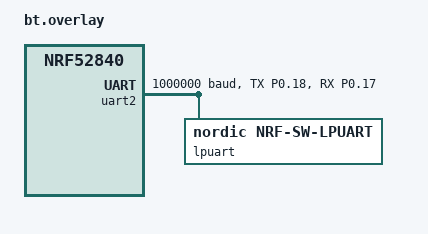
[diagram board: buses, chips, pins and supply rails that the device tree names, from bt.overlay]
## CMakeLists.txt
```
#
# Copyright (c) 2020 Nordic Semiconductor
#
# SPDX-License-Identifier: LicenseRef-Nordic-5-Clause
#

cmake_minimum_required(VERSION 3.20.0)

find_package(Zephyr REQUIRED HINTS $ENV{ZEPHYR_BASE})
project(MOSH)
target_include_directories(app PRIVATE src)

target_sources(app PRIVATE src/main.c)
target_sources(app PRIVATE src/shell.c)

add_subdirectory(src/print)
add_subdirectory(src/utils)
add_subdirectory(src/uart)
add_subdirectory(src/at)
add_subdirectory(src/link)
add_subdirectory_ifdef(CONFIG_MOSH_NRF91_NON_OFFLOADING_DEV src/drivers)
add_subdirectory_ifdef(CONFIG_MOSH_WORKER_THREADS src/th)
add_subdirectory_ifdef(CONFIG_MOSH_SOCK src/sock)
add_subdirectory_ifdef(CONFIG_MOSH_PING src/ping)
add_subdirectory_ifdef(CONFIG_MOSH_GNSS src/gnss)
add_subdirectory_ifdef(CONFIG_MOSH_SMS src/sms)
add_subdirectory_ifdef(CONFIG_MOSH_LOCATION src/location)
add_subdirectory_ifdef(CONFIG_MOSH_PPP src/ppp)
add_subdirectory_ifdef(CONFIG_MOSH_FOTA src/fota)
add_subdirectory_ifdef(CONFIG_MOSH_REST src/rest)
add_subdirectory_ifdef(CONFIG_MOSH_STARTUP_CMDS src/startup_cmd)
add_subdirectory_ifdef(CONFIG_MOSH_GPIO_COUNT src/gpio_count)
add_subdirectory(src/cloud)

if(NOT ENV{PROJECT_NAME})
  zephyr_compile_definitions(
    PROJECT_NAME=${CMAKE_PROJECT_NAME}
  )
endif()
```

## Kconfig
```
#
# Copyright (c) 2020 Nordic Semiconductor ASA
#
# SPDX-License-Identifier: LicenseRef-Nordic-5-Clause
#

menu "Nordic Modem Shell config"

config MOSH_IPERF3
	bool "iPerf3"
	default y
	select NRF_IPERF3

config NRF_IPERF3_PROMPTLESS
	bool
	default y

config MOSH_SOCK
	bool "Socket tool"
	default y
	help
	  Socket tool with TCP, UDP, RAW, IPv4, IPv6 and packet socket support.

config MOSH_PING
	bool "ICMP ping"
	default y
	help
	  Ping is a tool for testing the reachability of a host on an IP network.

config MOSH_CURL
	bool "cURL"
	default y
	select NRF_CURL

config NRF_CURL_PROMPTLESS
	bool
	default y

config MOSH_GNSS
	bool "GNSS"
	default y
	help
	  GNSS feature for searching the location of the device.

config MOSH_PPP
	bool "PPP"
	help
	  Point-to-Point Protocol for enabling dial-up access to the Internet.

config MOSH_SMS
	bool "SMS"
	default y
	help
	  SMS tool for sending and receiving SMS messages.

config MOSH_LOCATION
	bool "Location"
	default y
	select LOCATION
	select NRF_CLOUD_LOCATION if MOSH_CLOUD_MQTT && (LOCATION_METHOD_CELLULAR || LOCATION_METHOD_WIFI)
	help
	  Tool for location queries via location library.

config MOSH_FOTA
	bool "FOTA"
	default y
	help
	  FOTA for performing software updates over-the-air for both modem and application side.

config MOSH_REST
	bool "REST client"
	default y
	select REST_CLIENT
	help
	  REST client for sending and receiving simple REST requests/responses.

config MOSH_CLOUD_REST
	bool "nRFCloud commands over REST"
	default y
	select NRF_CLOUD_REST
	select MODEM_JWT
	select NRF_CLOUD_AGNSS_FILTERED if NRF_CLOUD_AGNSS && !NRF_CLOUD_MQTT
	select NRF_CLOUD_AGNSS_FILTERED_RUNTIME if NRF_CLOUD_AGNSS && !NRF_CLOUD_MQTT

config MOSH_CLOUD_MQTT
	bool "MQTT connection to nRF Cloud"
	select NRF_CLOUD_MQTT
	help
	  MQTT connection to nRF Cloud.

config MOSH_CLOUD_COAP
	bool "CoAP connection to nRF Cloud"
	select NRF_CLOUD_COAP
	select MODEM_JWT
	help
	  CoAP connection to nRF Cloud.

config MOSH_CLOUD_LWM2M
	bool "Cloud connection using LwM2M"
	help
	  Cloud connection using LwM2M.

config MOSH_AT_CMD_MODE
	bool "Specific AT command mode"
	default y

config MOSH_GPIO_COUNT
	bool "GPIO pin pulse counter"
	default n if BOARD_THINGY91_NRF9160_NS
	default y
	help
	  Tool for counting the number of pulses on a GPIO pin.

config MOSH_PRINT_BUFFER_SIZE
	int "Buffer size used when printing modem shell output"
	default 1024
	help
	  If the printed string exceeds this buffer, an error message is printed first and
	  then the requested string cut into the length of this buffer.

config MOSH_COMMON_WORKQUEUE_STACK_SIZE
	int "Common workqueue stack size"
	default 7168 if MOSH_CLOUD_REST || MOSH_CLOUD_MQTT
	default 6144 if MOSH_STARTUP_CMDS && MOSH_CURL
	default 4096

config MOSH_COMMON_WORKQUEUE_PRIORITY
	int "Common workqueue priority"
	default 5

if NRF_IPERF3

config NRF_IPERF3_RESULTS_WAIT_TIME
	default 180
endif

if MOSH_IPERF3 || MOSH_PING
menu "MoSH iperf3 and ping command selections"

config MOSH_WORKER_THREADS
	bool "Possibility to run iperf3 or ping instances in separate threads"
	default y

config MOSH_STARTUP_CMDS
	bool "Possibility to run stored MoSh commands from settings after bootup"
	default y

config MOSH_NRF91_NON_OFFLOADING_DEV
	bool "Possibility to run iperf3 with Zephyr TCP/IP stack"

endmenu
endif

if MOSH_AT_CMD_MODE
choice
	prompt "Command termination"
	default MOSH_AT_CMD_MODE_CR_LF_TERMINATION
	help
		Sets the command termination ending from the serial terminal
		Levels are:
		-  NULL Termination
		-  CR Termination
		-  LF Termination
		-  CR+LF Termination
	config MOSH_AT_CMD_MODE_NULL_TERMINATION
		bool "NULL Termination"
	config MOSH_AT_CMD_MODE_CR_TERMINATION
		bool "CR Termination"
	config MOSH_AT_CMD_MODE_LF_TERMINATION
		bool "LF Termination"
	config MOSH_AT_CMD_MODE_CR_LF_TERMINATION
		bool "CR+LF Termination"
endchoice
config MOSH_AT_CMD_MODE_TERMINATION
	int
	default 0 if MOSH_AT_CMD_MODE_NULL_TERMINATION
	default 1 if MOSH_AT_CMD_MODE_CR_TERMINATION
	default 2 if MOSH_AT_CMD_MODE_LF_TERMINATION
	default 3 if MOSH_AT_CMD_MODE_CR_LF_TERMINATION
endif

menu "MoSH link control selections"

config MOSH_LINK_SETT_NORMAL_MODE_AT_CMD_STR_LEN
	int "Link settings AT command length"
	default 127
	help
	  String length for custom AT commands stored into settings to be used
	  when going to normal mode.

endmenu

if MOSH_WORKER_THREADS

config MOSH_WORKER_THREADS_OUTPUT_BUFFER_SIZE
	int "Buffer size for storing output of the background thread commands"
	default 4096

config MOSH_WORKER_THREADS_STACK_SIZE
	int "Worker thread stack size"
	default 4096

endif #MOSH_WORKER_THREADS

if MOSH_CLOUD_LWM2M

config MOSH_LWM2M_PSK
	string "LwM2M pre-shared key for communication"
	help
	  Pre-shared key must be identical to the PSK registered with the device on the LwM2M server.
	  Use the hexadecimal representation.

config MOSH_LWM2M_ENDPOINT_PREFIX
	string "Prefix used in the LwM2M endpoint name"
	default "urn:imei:"
	help
	  Sets the prefix of the endpoint name used when connecting to the LwM2M server.

# Make AVSystem the default LwM2M server.
config LWM2M_CLIENT_UTILS_SERVER
	string "LwM2M server address"
	default "coaps://eu.iot.avsystem.cloud:5684"
	help
	  Kconfig redefinition, please see the help text of the original definition.

endif # MOSH_CLOUD_LWM2M

# For power measurement purposes, activate low power mode for asynchronous UARTs.
if UART_0_ASYNC

config UART_0_NRF_ASYNC_LOW_POWER
	bool "Low power mode"
	default y

endif # UART_0_ASYNC

if UART_1_ASYNC

config UART_1_NRF_ASYNC_LOW_POWER
	bool "Low power mode"
	default y

endif # UART_1_ASYNC

endmenu # Modem Shell

menu "Zephyr Kernel"
source "Kconfig.zephyr"
endmenu
```

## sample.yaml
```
sample:
  name: modem_shell Sample
tests:
  sample.cellular.modem_shell:
    sysbuild: true
    build_only: true
    integration_platforms:
      - nrf9151dk/nrf9151/ns
      - nrf9160dk/nrf9160/ns
      - nrf9161dk/nrf9161/ns
    platform_allow:
      - nrf9151dk/nrf9151/ns
      - nrf9160dk/nrf9160/ns
      - nrf9161dk/nrf9161/ns
    tags:
      - ci_build
      - sysbuild
      - ci_samples_cellular
  sample.cellular.modem_shell_debug:
    sysbuild: true
    build_only: true
    integration_platforms:
      - nrf9151dk/nrf9151/ns
      - nrf9160dk/nrf9160/ns
      - nrf9161dk/nrf9161/ns
    platform_allow:
      - nrf9151dk/nrf9151/ns
      - nrf9160dk/nrf9160/ns
      - nrf9161dk/nrf9161/ns
    extra_args: EXTRA_CONF_FILE=overlay-debug.conf
    tags:
      - ci_build
      - sysbuild
      - ci_samples_cellular
  sample.cellular.modem_shell.cloud_mqtt_only:
    sysbuild: true
    build_only: true
    integration_platforms:
      - nrf9151dk/nrf9151/ns
      - nrf9160dk/nrf9160/ns
      - nrf9161dk/nrf9161/ns
    platform_allow:
      - nrf9151dk/nrf9151/ns
      - nrf9160dk/nrf9160/ns
      - nrf9161dk/nrf9161/ns
    extra_configs:
      - CONFIG_LOCATION_SERVICE_NRF_CLOUD_GNSS_POS_SEND=y
    extra_args: EXTRA_CONF_FILE=overlay-cloud_mqtt.conf
    tags:
      - ci_build
      - sysbuild
      - ci_samples_cellular
  sample.cellular.modem_shell.cloud_mqtt_rest:
    sysbuild: true
    build_only: true
    integration_platforms:
      - nrf9151dk/nrf9151/ns
      - nrf9160dk/nrf9160/ns
      - nrf9161dk/nrf9161/ns
    platform_allow:
      - nrf9151dk/nrf9151/ns
      - nrf9160dk/nrf9160/ns
      - nrf9161dk/nrf9161/ns
    extra_configs:
      - CONFIG_MOSH_CLOUD_MQTT=y
      - CONFIG_MOSH_CLOUD_REST=y
    tags:
      - ci_build
      - sysbuild
      - ci_samples_cellular
  sample.cellular.modem_shell.cloud_coap_only:
    sysbuild: true
    build_only: true
    integration_platforms:
      - nrf9151dk/nrf9151/ns
      - nrf9160dk/nrf9160/ns
      - nrf9161dk/nrf9161/ns
    platform_allow:
      - nrf9151dk/nrf9151/ns
      - nrf9160dk/nrf9160/ns
      - nrf9161dk/nrf9161/ns
    extra_configs:
      - CONFIG_LOCATION_SERVICE_NRF_CLOUD_GNSS_POS_SEND=y
    extra_args: EXTRA_CONF_FILE=overlay-cloud_coap.conf
    tags:
      - ci_build
      - sysbuild
      - ci_samples_cellular
  sample.cellular.modem_shell.non_offloading_ip:
    sysbuild: true
    build_only: true
    integration_platforms:
      - nrf9151dk/nrf9151/ns
      - nrf9160dk/nrf9160/ns
      - nrf9161dk/nrf9161/ns
    platform_allow:
      - nrf9151dk/nrf9151/ns
      - nrf9160dk/nrf9160/ns
      - nrf9161dk/nrf9161/ns
    extra_args: EXTRA_CONF_FILE=overlay-non-offloading.conf
    tags:
      - ci_build
      - sysbuild
      - ci_samples_cellular
  sample.cellular.modem_shell.nrf7002ek_wifi:
    sysbuild: true
    build_only: true
    integration_platforms:
      - nrf9151dk/nrf9151/ns
      - nrf9160dk/nrf9160/ns
      - nrf9161dk/nrf9161/ns
    platform_allow:
      - nrf9151dk/nrf9151/ns
      - nrf9160dk/nrf9160/ns
      - nrf9161dk/nrf9161/ns
    extra_args:
      - SHIELD=nrf7002ek_nrf7000
      - EXTRA_CONF_FILE=overlay-nrf700x-wifi-scan-only.conf
      - SB_CONFIG_WIFI_NRF70=y
      - SB_CONFIG_WIFI_NRF70_SCAN_ONLY=y
    tags:
      - ci_build
      - sysbuild
      - ci_samples_cellular
  sample.cellular.modem_shell.nrf7000ek_wifi:
    sysbuild: true
    build_only: true
    integration_platforms:
      - nrf9151dk/nrf9151/ns
      - nrf9160dk/nrf9160/ns
      - nrf9161dk/nrf9161/ns
    platform_allow:
      - nrf9151dk/nrf9151/ns
      - nrf9160dk/nrf9160/ns
      - nrf9161dk/nrf9161/ns
    extra_args:
      - SHIELD=nrf7002ek_nrf7000
      - EXTRA_CONF_FILE=overlay-nrf700x-wifi-scan-only.conf
      - CONFIG_WIFI_NM_WPA_SUPPLICANT=n
      - SB_CONFIG_WIFI_NRF70=y
      - SB_CONFIG_WIFI_NRF70_SCAN_ONLY=y
    tags:
      - ci_build
      - sysbuild
      - ci_samples_cellular
  sample.cellular.modem_shell.nrf7002ek_wifi-debug:
    sysbuild: true
    build_only: true
    integration_platforms:
      - nrf9151dk/nrf9151/ns
      - nrf9160dk/nrf9160/ns
      - nrf9161dk/nrf9161/ns
    platform_allow:
      - nrf9151dk/nrf9151/ns
      - nrf9160dk/nrf9160/ns
      - nrf9161dk/nrf9161/ns
    extra_args:
      - SHIELD=nrf7002ek_nrf7000
      - EXTRA_CONF_FILE="overlay-nrf700x-wifi-scan-only.conf;overlay-debug.conf"
      - SB_CONFIG_WIFI_NRF70=y
      - SB_CONFIG_WIFI_NRF70_SCAN_ONLY=y
    tags:
      - ci_build
      - sysbuild
      - ci_samples_cellular
  sample.cellular.modem_shell.app_fota:
    sysbuild: true
    build_only: true
    integration_platforms:
      - nrf9151dk/nrf9151/ns
      - nrf9160dk/nrf9160/ns
      - nrf9161dk/nrf9161/ns
    platform_allow:
      - nrf9151dk/nrf9151/ns
      - nrf9160dk/nrf9160/ns
      - nrf9161dk/nrf9161/ns
    extra_args:
      - EXTRA_CONF_FILE=overlay-app_fota.conf
      - SB_CONFIG_BOOTLOADER_MCUBOOT=y
    tags:
      - ci_build
      - sysbuild
      - ci_samples_cellular
  sample.cellular.modem_shell.modem_fota_full.nrf9160:
    sysbuild: true
    build_only: true
    extra_args:
      - EXTRA_CONF_FILE=overlay-modem_fota_full.conf
      - EXTRA_DTC_OVERLAY_FILE="nrf9160dk_ext_flash.overlay"
    integration_platforms:
      - nrf9160dk/nrf9160/ns
    platform_allow: nrf9160dk/nrf9160/ns
    tags:
      - ci_build
      - sysbuild
      - ci_samples_cellular
  sample.cellular.modem_shell.modem_fota_full.nrf91x1:
    sysbuild: true
    build_only: true
    extra_args:
      - EXTRA_CONF_FILE=overlay-modem_fota_full.conf
      - EXTRA_DTC_OVERLAY_FILE="nrf9161dk_ext_flash.overlay"
    integration_platforms:
      - nrf9151dk/nrf9151/ns
      - nrf9161dk/nrf9161/ns
    platform_allow:
      - nrf9151dk/nrf9151/ns
      - nrf9161dk/nrf9161/ns
    tags:
      - ci_build
      - sysbuild
      - ci_samples_cellular
  sample.cellular.modem_shell.carrier:
    sysbuild: true
    build_only: true
    extra_args: EXTRA_CONF_FILE=overlay-carrier.conf
    integration_platforms:
      - nrf9151dk/nrf9151/ns
      - nrf9160dk/nrf9160/ns
      - nrf9161dk/nrf9161/ns
    platform_allow:
      - nrf9151dk/nrf9151/ns
      - nrf9160dk/nrf9160/ns
      - nrf9161dk/nrf9161/ns
    tags:
      - ci_build
      - sysbuild
      - ci_samples_cellular
  sample.cellular.modem_shell.lwm2m:
    sysbuild: true
    build_only: true
    extra_configs:
      - CONFIG_MOSH_LWM2M_PSK="000102030405060708090a0b0c0d0e0f"
    extra_args: EXTRA_CONF_FILE=overlay-lwm2m.conf
    integration_platforms:
      - nrf9151dk/nrf9151/ns
      - nrf9160dk/nrf9160/ns
      - nrf9161dk/nrf9161/ns
    platform_allow:
      - nrf9151dk/nrf9151/ns
      - nrf9160dk/nrf9160/ns
      - nrf9161dk/nrf9161/ns
    tags:
      - ci_build
      - sysbuild
      - ci_samples_cellular
  sample.cellular.modem_shell.lwm2m_bootstrap:
    sysbuild: true
    build_only: true
    extra_configs:
      - CONFIG_MOSH_LWM2M_PSK="000102030405060708090a0b0c0d0e0f"
    extra_args: EXTRA_CONF_FILE="overlay-lwm2m.conf;overlay-lwm2m_bootstrap.conf"
    integration_platforms:
      - nrf9151dk/nrf9151/ns
      - nrf9160dk/nrf9160/ns
      - nrf9161dk/nrf9161/ns
    platform_allow:
      - nrf9151dk/nrf9151/ns
      - nrf9160dk/nrf9160/ns
      - nrf9161dk/nrf9161/ns
    tags:
      - ci_build
      - sysbuild
      - ci_samples_cellular
  sample.cellular.modem_shell.lwm2m_pgps:
    sysbuild: true
    build_only: true
    extra_configs:
      - CONFIG_MOSH_LWM2M_PSK="000102030405060708090a0b0c0d0e0f"
    extra_args: EXTRA_CONF_FILE="overlay-lwm2m.conf;overlay-lwm2m_pgps.conf;overlay-pgps.conf"
    integration_platforms:
      - nrf9151dk/nrf9151/ns
      - nrf9160dk/nrf9160/ns
      - nrf9161dk/nrf9161/ns
    platform_allow:
      - nrf9151dk/nrf9151/ns
      - nrf9160dk/nrf9160/ns
      - nrf9161dk/nrf9161/ns
    tags:
      - ci_build
      - sysbuild
      - ci_samples_cellular
  sample.cellular.modem_shell.pgps:
    sysbuild: true
    build_only: true
    extra_args: EXTRA_CONF_FILE=overlay-pgps.conf
    integration_platforms:
      - nrf9151dk/nrf9151/ns
      - nrf9160dk/nrf9160/ns
      - nrf9161dk/nrf9161/ns
    platform_allow:
      - nrf9151dk/nrf9151/ns
      - nrf9160dk/nrf9160/ns
      - nrf9161dk/nrf9161/ns
    tags:
      - ci_build
      - sysbuild
      - ci_samples_cellular
  sample.cellular.modem_shell.pgps_coap:
    sysbuild: true
    build_only: true
    extra_args: EXTRA_CONF_FILE="overlay-pgps.conf;overlay-cloud_coap.conf"
    integration_platforms:
      - nrf9151dk/nrf9151/ns
      - nrf9160dk/nrf9160/ns
      - nrf9161dk/nrf9161/ns
    platform_allow:
      - nrf9151dk/nrf9151/ns
      - nrf9160dk/nrf9160/ns
      - nrf9161dk/nrf9161/ns
    tags:
      - ci_build
      - sysbuild
      - ci_samples_cellular
  sample.cellular.modem_shell.location_service_ext:
    sysbuild: true
    build_only: true
    extra_configs:
      - CONFIG_LOCATION_SERVICE_EXTERNAL=y
    extra_args: EXTRA_CONF_FILE=overlay-cloud_mqtt.conf
    integration_platforms:
      - nrf9151dk/nrf9151/ns
      - nrf9160dk/nrf9160/ns
      - nrf9161dk/nrf9161/ns
    platform_allow:
      - nrf9151dk/nrf9151/ns
      - nrf9160dk/nrf9160/ns
      - nrf9161dk/nrf9161/ns
    tags:
      - ci_build
      - sysbuild
      - ci_samples_cellular
  sample.cellular.modem_shell.location_service_ext_pgps_nrf7002ek_wifi:
    sysbuild: true
    build_only: true
    extra_configs:
      - CONFIG_LOCATION_SERVICE_EXTERNAL=y
      - CONFIG_NRF_CLOUD_PGPS_TRANSPORT_NONE=y
    extra_args:
      - SHIELD=nrf7002ek_nrf7000
      - EXTRA_CONF_FILE="overlay-cloud_mqtt.conf;overlay-pgps.conf;overlay-nrf700x-wifi-scan-only.conf"
      - SB_CONFIG_WIFI_NRF70=y
      - SB_CONFIG_WIFI_NRF70_SCAN_ONLY=y
    integration_platforms:
      - nrf9151dk/nrf9151/ns
      - nrf9160dk/nrf9160/ns
      - nrf9161dk/nrf9161/ns
    platform_allow:
      - nrf9151dk/nrf9151/ns
      - nrf9160dk/nrf9160/ns
      - nrf9161dk/nrf9161/ns
    tags:
      - ci_build
      - sysbuild
      - ci_samples_cellular
  sample.cellular.modem_shell.ppp:
    sysbuild: true
    build_only: true
    extra_args:
      - EXTRA_CONF_FILE=overlay-ppp.conf
      - EXTRA_DTC_OVERLAY_FILE="ppp.overlay"
    integration_platforms:
      - nrf9151dk/nrf9151/ns
      - nrf9160dk/nrf9160/ns
      - nrf9161dk/nrf9161/ns
    platform_allow:
      - nrf9151dk/nrf9151/ns
      - nrf9160dk/nrf9160/ns
      - nrf9161dk/nrf9161/ns
    tags:
      - ci_build
      - sysbuild
      - ci_samples_cellular
  sample.cellular.modem_shell.bt:
    sysbuild: true
    build_only: true
    extra_args:
      - EXTRA_CONF_FILE=overlay-bt.conf
      - EXTRA_DTC_OVERLAY_FILE="bt.overlay"
    integration_platforms:
      - nrf9160dk/nrf9160/ns
    platform_allow: nrf9160dk/nrf9160/ns
    tags:
      - ci_build
      - sysbuild
      - ci_samples_cellular
      - bluetooth
  sample.cellular.modem_shell.rtt:
    sysbuild: true
    build_only: true
    extra_args: EXTRA_CONF_FILE=overlay-rtt.conf
    integration_platforms:
      - nrf9151dk/nrf9151/ns
      - nrf9160dk/nrf9160/ns
      - nrf9161dk/nrf9161/ns
    platform_allow:
      - nrf9151dk/nrf9151/ns
      - nrf9160dk/nrf9160/ns
      - nrf9161dk/nrf9161/ns
    tags:
      - ci_build
      - sysbuild
      - ci_samples_cellular
  sample.cellular.modem_shell.thingy91:
    sysbuild: true
    build_only: true
    integration_platforms:
      - thingy91/nrf9160/ns
      - thingy91x/nrf9151/ns
    platform_allow:
      - thingy91/nrf9160/ns
      - thingy91x/nrf9151/ns
    tags:
      - ci_build
      - sysbuild
      - ci_samples_cellular
  sample.cellular.modem_shell.thingy91x_wifi:
    sysbuild: true
    build_only: true
    integration_platforms:
      - thingy91x/nrf9151/ns
    platform_allow:
      - thingy91x/nrf9151/ns
    extra_args:
      - EXTRA_CONF_FILE=overlay-nrf700x-wifi-scan-only.conf
      - EXTRA_DTC_OVERLAY_FILE=thingy91x_wifi.overlay
      - SB_CONFIG_WIFI_NRF70=y
      - SB_CONFIG_WIFI_NRF70_SCAN_ONLY=y
    tags:
      - ci_build
      - sysbuild
      - ci_samples_cellular
  sample.cellular.modem_shell.modem_trace_shell_ext_flash:
    sysbuild: true
    build_only: true
    integration_platforms:
      - nrf9151dk/nrf9151/ns
      - nrf9160dk/nrf9160/ns
      - nrf9161dk/nrf9161/ns
    platform_allow:
      - nrf9151dk/nrf9151/ns
      - nrf9160dk/nrf9160/ns
      - nrf9161dk/nrf9161/ns
    extra_args: modem_shell_SNIPPET="nrf91-modem-trace-ext-flash"
    extra_configs:
      - CONFIG_NRF_MODEM_LIB_SHELL_TRACE=y
    tags:
      - ci_build
      - sysbuild
      - ci_samples_cellular
  sample.cellular.modem_shell.modem_trace_ram:
    sysbuild: true
    build_only: true
    integration_platforms:
      - nrf9151dk/nrf9151/ns
      - nrf9160dk/nrf9160/ns
      - nrf9161dk/nrf9161/ns
    platform_allow:
      - nrf9151dk/nrf9151/ns
      - nrf9160dk/nrf9160/ns
      - nrf9161dk/nrf9161/ns
    extra_args: EXTRA_CONF_FILE="overlay-modem-trace-ram.conf"
    tags:
      - ci_build
      - sysbuild
      - ci_samples_cellular
  # Configurations for different location method combinations
  sample.cellular.modem_shell.location_gnss_wifi_no_cellular:
    sysbuild: true
    build_only: true
    integration_platforms:
      - nrf9151dk/nrf9151/ns
      - nrf9160dk/nrf9160/ns
      - nrf9161dk/nrf9161/ns
    platform_allow:
      - nrf9151dk/nrf9151/ns
      - nrf9160dk/nrf9160/ns
      - nrf9161dk/nrf9161/ns
    extra_configs:
      - CONFIG_LOCATION_METHOD_GNSS=y
      - CONFIG_LOCATION_METHOD_CELLULAR=n
      - CONFIG_LOCATION_METHOD_WIFI=y
    extra_args:
      - SHIELD=nrf7002ek_nrf7000
      - EXTRA_CONF_FILE=overlay-nrf700x-wifi-scan-only.conf
      - SB_CONFIG_WIFI_NRF70=y
      - SB_CONFIG_WIFI_NRF70_SCAN_ONLY=y
    tags:
      - ci_build
      - sysbuild
      - ci_samples_cellular
  sample.cellular.modem_shell.location_wifi_cellular_no_gnss:
    sysbuild: true
    build_only: true
    integration_platforms:
      - nrf9151dk/nrf9151/ns
      - nrf9160dk/nrf9160/ns
      - nrf9161dk/nrf9161/ns
    platform_allow:
      - nrf9151dk/nrf9151/ns
      - nrf9160dk/nrf9160/ns
      - nrf9161dk/nrf9161/ns
    extra_configs:
      - CONFIG_LOCATION_METHOD_GNSS=n
      - CONFIG_LOCATION_METHOD_CELLULAR=y
      - CONFIG_LOCATION_METHOD_WIFI=y
    extra_args:
      - SHIELD=nrf7002ek_nrf7000
      - EXTRA_CONF_FILE=overlay-nrf700x-wifi-scan-only.conf
      - SB_CONFIG_WIFI_NRF70=y
      - SB_CONFIG_WIFI_NRF70_SCAN_ONLY=y
    tags:
      - ci_build
      - sysbuild
      - ci_samples_cellular
  sample.cellular.modem_shell.location_wifi_no_cellular_no_gnss:
    sysbuild: true
    build_only: true
    integration_platforms:
      - nrf9151dk/nrf9151/ns
      - nrf9160dk/nrf9160/ns
      - nrf9161dk/nrf9161/ns
    platform_allow:
      - nrf9151dk/nrf9151/ns
      - nrf9160dk/nrf9160/ns
      - nrf9161dk/nrf9161/ns
    extra_configs:
      - CONFIG_LOCATION_METHOD_GNSS=n
      - CONFIG_LOCATION_METHOD_CELLULAR=n
      - CONFIG_LOCATION_METHOD_WIFI=y
    extra_args:
      - SHIELD=nrf7002ek_nrf7000
      - EXTRA_CONF_FILE=overlay-nrf700x-wifi-scan-only.conf
      - SB_CONFIG_WIFI_NRF70=y
      - SB_CONFIG_WIFI_NRF70_SCAN_ONLY=y
    tags:
      - ci_build
      - sysbuild
      - ci_samples_cellular
  sample.cellular.modem_shell.location_gnss_no_wifi_no_cellular:
    sysbuild: true
    build_only: true
    integration_platforms:
      - nrf9151dk/nrf9151/ns
      - nrf9160dk/nrf9160/ns
      - nrf9161dk/nrf9161/ns
    platform_allow:
      - nrf9151dk/nrf9151/ns
      - nrf9160dk/nrf9160/ns
      - nrf9161dk/nrf9161/ns
    extra_configs:
      - CONFIG_LOCATION_METHOD_GNSS=y
      - CONFIG_LOCATION_METHOD_CELLULAR=n
      - CONFIG_LOCATION_METHOD_WIFI=n
    tags:
      - ci_build
      - sysbuild
      - ci_samples_cellular
  sample.cellular.modem_shell.location_cellular_no_wifi_no_gnss:
    sysbuild: true
    build_only: true
    integration_platforms:
      - nrf9151dk/nrf9151/ns
      - nrf9160dk/nrf9160/ns
      - nrf9161dk/nrf9161/ns
    platform_allow:
      - nrf9151dk/nrf9151/ns
      - nrf9160dk/nrf9160/ns
      - nrf9161dk/nrf9161/ns
    extra_configs:
      - CONFIG_LOCATION_METHOD_GNSS=n
      - CONFIG_LOCATION_METHOD_CELLULAR=y
      - CONFIG_LOCATION_METHOD_WIFI=n
    tags:
      - ci_build
      - sysbuild
      - ci_samples_cellular
  # Configurations with location data details and some location method combinations
  sample.cellular.modem_shell.location_gnss_wifi_cellular_details:
    sysbuild: true
    build_only: true
    integration_platforms:
      - nrf9151dk/nrf9151/ns
      - nrf9160dk/nrf9160/ns
      - nrf9161dk/nrf9161/ns
    platform_allow:
      - nrf9151dk/nrf9151/ns
      - nrf9160dk/nrf9160/ns
      - nrf9161dk/nrf9161/ns
    extra_configs:
      - CONFIG_LOCATION_DATA_DETAILS=y
      - CONFIG_LOCATION_METHOD_GNSS=y
      - CONFIG_LOCATION_METHOD_CELLULAR=y
      - CONFIG_LOCATION_METHOD_WIFI=y
    extra_args:
      - SHIELD=nrf7002ek_nrf7000
      - EXTRA_CONF_FILE=overlay-nrf700x-wifi-scan-only.conf
      - SB_CONFIG_WIFI_NRF70=y
      - SB_CONFIG_WIFI_NRF70_SCAN_ONLY=y
    tags:
      - ci_build
      - sysbuild
      - ci_samples_cellular
  sample.cellular.modem_shell.location_gnss_no_wifi_no_cellular_details:
    sysbuild: true
    build_only: true
    integration_platforms:
      - nrf9151dk/nrf9151/ns
      - nrf9160dk/nrf9160/ns
      - nrf9161dk/nrf9161/ns
    platform_allow:
      - nrf9151dk/nrf9151/ns
      - nrf9160dk/nrf9160/ns
      - nrf9161dk/nrf9161/ns
    extra_configs:
      - CONFIG_LOCATION_DATA_DETAILS=y
      - CONFIG_LOCATION_METHOD_GNSS=y
      - CONFIG_LOCATION_METHOD_CELLULAR=n
      - CONFIG_LOCATION_METHOD_WIFI=n
    tags:
      - ci_build
      - sysbuild
      - ci_samples_cellular
  sample.cellular.modem_shell.location_wifi_cellular_no_gnss_details:
    sysbuild: true
    build_only: true
    integration_platforms:
      - nrf9151dk/nrf9151/ns
      - nrf9160dk/nrf9160/ns
      - nrf9161dk/nrf9161/ns
    platform_allow:
      - nrf9151dk/nrf9151/ns
      - nrf9160dk/nrf9160/ns
      - nrf9161dk/nrf9161/ns
    extra_configs:
      - CONFIG_LOCATION_DATA_DETAILS=y
      - CONFIG_LOCATION_METHOD_GNSS=n
      - CONFIG_LOCATION_METHOD_CELLULAR=y
      - CONFIG_LOCATION_METHOD_WIFI=y
    extra_args:
      - SHIELD=nrf7002ek_nrf7000
      - EXTRA_CONF_FILE=overlay-nrf700x-wifi-scan-only.conf
      - SB_CONFIG_WIFI_NRF70=y
      - SB_CONFIG_WIFI_NRF70_SCAN_ONLY=y
    tags:
      - ci_build
      - sysbuild
      - ci_samples_cellular
  sample.cellular.modem_shell.location_gnss_cellular_no_wifi_details:
    sysbuild: true
    build_only: true
    integration_platforms:
      - nrf9151dk/nrf9151/ns
      - nrf9160dk/nrf9160/ns
      - nrf9161dk/nrf9161/ns
    platform_allow:
      - nrf9151dk/nrf9151/ns
      - nrf9160dk/nrf9160/ns
      - nrf9161dk/nrf9161/ns
    extra_configs:
      - CONFIG_LOCATION_DATA_DETAILS=y
      - CONFIG_LOCATION_METHOD_GNSS=y
      - CONFIG_LOCATION_METHOD_CELLULAR=y
      - CONFIG_LOCATION_METHOD_WIFI=n
    tags:
      - ci_build
      - sysbuild
      - ci_samples_cellular
  # Configurations with modem UART traces to make sure they fit into image.
  # Basic UART trace configuration is tested in sample.cellular.modem_shell.integration_config.
  sample.cellular.modem_shell_modem_uart_trace:
    sysbuild: true
    build_only: true
    extra_args: modem_shell_SNIPPET="nrf91-modem-trace-uart"
    integration_platforms:
      - nrf9151dk/nrf9151/ns
      - nrf9160dk/nrf9160/ns
      - nrf9161dk/nrf9161/ns
      - thingy91/nrf9160/ns
      - thingy91x/nrf9151/ns
    platform_allow:
      - nrf9151dk/nrf9151/ns
      - nrf9160dk/nrf9160/ns
      - nrf9161dk/nrf9161/ns
      - thingy91/nrf9160/ns
      - thingy91x/nrf9151/ns
    tags:
      - ci_build
      - sysbuild
      - ci_samples_cellular
  sample.cellular.modem_shell.non_offloading_ip_modem_uart_trace:
    sysbuild: true
    build_only: true
    extra_args:
      - EXTRA_CONF_FILE=overlay-non-offloading.conf
      - modem_shell_SNIPPET="nrf91-modem-trace-uart"
    integration_platforms:
      - nrf9151dk/nrf9151/ns
      - nrf9160dk/nrf9160/ns
      - nrf9161dk/nrf9161/ns
    platform_allow:
      - nrf9151dk/nrf9151/ns
      - nrf9160dk/nrf9160/ns
      - nrf9161dk/nrf9161/ns
    tags:
      - ci_build
      - sysbuild
      - ci_samples_cellular
  # Configuration which will be used by the CI integration job to verify PRs
  sample.cellular.modem_shell.integration_config:
    sysbuild: true
    build_only: true
    extra_configs:
      - CONFIG_LTE_NETWORK_MODE_LTE_M=y
      - CONFIG_MODEM_ANTENNA_GNSS_EXTERNAL=y
    extra_args: modem_shell_SNIPPET="nrf91-modem-trace-uart"
    integration_platforms:
      - nrf9151dk/nrf9151/ns
    platform_allow:
      - nrf9151dk/nrf9151/ns
    tags:
      - ci_build
      - sysbuild
      - ci_samples_cellular
```

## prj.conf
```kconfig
#
# Copyright (c) 2020 Nordic Semiconductor ASA
#
# SPDX-License-Identifier: LicenseRef-Nordic-5-Clause
#
# General config

CONFIG_MOSH_IPERF3=y
CONFIG_MOSH_SOCK=y
CONFIG_MOSH_PING=y
CONFIG_MOSH_CURL=y
CONFIG_MOSH_SMS=y
CONFIG_MOSH_GNSS=y
CONFIG_MOSH_LOCATION=y

# Stacks and heaps
CONFIG_MAIN_STACK_SIZE=4096
CONFIG_HEAP_MEM_POOL_SIZE=8192

# System queue is used e.g. by AT monitor and SMS lib
CONFIG_SYSTEM_WORKQUEUE_STACK_SIZE=2048

# Shell configurations
CONFIG_SHELL=y
CONFIG_SHELL_WILDCARD=n
CONFIG_SHELL_PROMPT_UART="mosh:~$ "
CONFIG_SHELL_ARGC_MAX=40
# -h and --help options are handled in Modem Shell
CONFIG_SHELL_HELP_OPT_PARSE=n
# Command line buffer is set this large to enable writing of certificates and injecting A-GNSS data on command line.
CONFIG_SHELL_CMD_BUFF_SIZE=3584
# Shell stack has impact for modem shell application, not CONFIG_MAIN_STACK_SIZE
CONFIG_SHELL_STACK_SIZE=9216
# Shell RX buffer needs to be increased to avoid problems with test automation
CONFIG_SHELL_BACKEND_SERIAL_RX_RING_BUFFER_SIZE=512
# Use interrupt driven shell UART, otherwise we won't be able to suspend the UART
CONFIG_SHELL_BACKEND_SERIAL_API_INTERRUPT_DRIVEN=y
# LTE shell is unnecessary with Modem Shell
CONFIG_LTE_SHELL=n
# Enable use of vsnprintfcb() for extending mosh_print() format
CONFIG_CBPRINTF_LIBC_SUBSTS=y

CONFIG_FPU=y
CONFIG_CJSON_LIB=y

# Getopt
CONFIG_GETOPT_LIB=y
# Need to disable devmem shell since it enforces Zephyr's internal version of getopt
CONFIG_DEVMEM_SHELL=n

# Device power management
CONFIG_PM_DEVICE=y

# Needed for changing the UART baudrate at runtime
CONFIG_UART_USE_RUNTIME_CONFIGURE=y

# Modem info
CONFIG_MODEM_INFO=y

# Modem key management
CONFIG_MODEM_KEY_MGMT=y

# Network
CONFIG_NETWORKING=y
CONFIG_NET_NATIVE=n
CONFIG_NET_SOCKETS=y
CONFIG_NET_SOCKETS_OFFLOAD=y
CONFIG_NET_IPV4=y
CONFIG_NET_IPV6=y

CONFIG_POSIX_API=y
CONFIG_ZVFS_OPEN_MAX=10
# Need to be the same as MAX_FDS
CONFIG_NET_SOCKETS_POLL_MAX=10

# Modem library
CONFIG_NRF_MODEM_LIB=y
CONFIG_NRF_MODEM_LIB_SHMEM_TX_SIZE=22528
CONFIG_NRF_MODEM_LIB_SHMEM_RX_SIZE=8192
CONFIG_NRF_MODEM_LIB_ON_FAULT_APPLICATION_SPECIFIC=y

# AT monitor library
CONFIG_AT_MONITOR=y

# Increase AT monitor heap because %NCELLMEAS notifications can be long.
# Note: with legacy NCELLMEAS types, 512 is enough, but with GCI search types
# it could be even longer: theoretical maximum of 4020 bytes.
CONFIG_AT_MONITOR_HEAP_SIZE=1024

# Custom AT commands
CONFIG_AT_CMD_CUSTOM=y
CONFIG_AT_CMD_CUSTOM_LOG_LEVEL_OFF=y

# PDN library
CONFIG_PDN=y
CONFIG_PDN_ESM_STRERROR=y

# SMS
CONFIG_SMS=y

# LTE link control
CONFIG_LTE_LINK_CONTROL=y
# Use modem system mode setting by default
CONFIG_LTE_NETWORK_MODE_DEFAULT=y
# These can be enabled at runtime using shell commands
CONFIG_LTE_LC_MODEM_SLEEP_NOTIFICATIONS=n
CONFIG_LTE_LC_TAU_PRE_WARNING_NOTIFICATIONS=n
# Minimum values for thresholds
CONFIG_LTE_LC_TAU_PRE_WARNING_THRESHOLD_MS=10240
CONFIG_LTE_LC_MODEM_SLEEP_NOTIFICATIONS_THRESHOLD_MS=10240
# Maximum number of neighbor cells for neighbor cell measurement
CONFIG_LTE_NEIGHBOR_CELLS_MAX=17
# Enable required modules
CONFIG_LTE_LC_CONN_EVAL_MODULE=y
CONFIG_LTE_LC_EDRX_MODULE=y
CONFIG_LTE_LC_NEIGHBOR_CELL_MEAS_MODULE=y
CONFIG_LTE_LC_PERIODIC_SEARCH_MODULE=y
CONFIG_LTE_LC_PSM_MODULE=y
CONFIG_LTE_LC_RAI_MODULE=y
CONFIG_LTE_LC_MODEM_SLEEP_MODULE=y
CONFIG_LTE_LC_TAU_PRE_WARNING_MODULE=y

CONFIG_DATE_TIME=y

# nRF Cloud A-GNSS, disable this in case you want to enable SUPL below
CONFIG_NRF_CLOUD=y
CONFIG_NRF_CLOUD_AGNSS=y

# SUPL A-GNSS support, needs the nRF91 Series SUPL client library from nRF9160 DK product page
#CONFIG_SUPL_CLIENT_LIB=y

# Library for buttons and LEDs
CONFIG_DK_LIBRARY=y

# FOTA
CONFIG_FLASH=y
CONFIG_REBOOT=y
CONFIG_DFU_TARGET=y
CONFIG_FOTA_DOWNLOAD=y
CONFIG_DOWNLOADER=y
CONFIG_DOWNLOADER_SHELL=y
# BOOTLOADER_MCUBOOT reduces usable flash size by half so it's disabled by default
# This means application FOTA is disabled. Modem FOTA works without these.
CONFIG_BOOTLOADER_MCUBOOT=n
CONFIG_IMG_MANAGER=n
CONFIG_IMG_ERASE_PROGRESSIVELY=n

# Settings
CONFIG_FLASH=y
CONFIG_FLASH_MAP=y
CONFIG_MPU_ALLOW_FLASH_WRITE=y
CONFIG_NVS=y
CONFIG_SETTINGS=y
CONFIG_SETTINGS_NVS=y
CONFIG_NVS_LOG_LEVEL_WRN=y

# Debugging configurations
CONFIG_ASSERT=y
CONFIG_LOG=y
# Keep printk() synchronous
CONFIG_LOG_PRINTK=n
CONFIG_DEBUG_INFO=y
#CONFIG_DEBUG_OPTIMIZATIONS=y
#CONFIG_NO_OPTIMIZATIONS=y
#CONFIG_FORCE_NO_ASSERT=y
CONFIG_ASSERT_VERBOSE=y
#CONFIG_ASSERT_LEVEL=2
#CONFIG_ASSERT_ON_ERRORS=y
#CONFIG_FAULT_DUMP=2
CONFIG_RESET_ON_FATAL_ERROR=n
CONFIG_EXTRA_EXCEPTION_INFO=y
#CONFIG_WATCHDOG=y
CONFIG_SYS_HEAP_RUNTIME_STATS=y
# Enable TF-M logging on UART0
CONFIG_TFM_SECURE_UART0=y
CONFIG_TFM_LOG_LEVEL_SILENCE=n
CONFIG_TFM_EXCEPTION_INFO_DUMP=y
CONFIG_TFM_SPM_LOG_LEVEL_DEBUG=y
```

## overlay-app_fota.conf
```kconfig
#
# Copyright (c) 2020 Nordic Semiconductor
#
# SPDX-License-Identifier: LicenseRef-Nordic-5-Clause
#

# Some of the MoSh features need to be switched off to free enough flash
CONFIG_MOSH_IPERF3=n
CONFIG_MOSH_CURL=n
CONFIG_MOSH_REST=n
CONFIG_MOSH_WORKER_THREADS=n
CONFIG_MOSH_LOCATION=n

CONFIG_BOOTLOADER_MCUBOOT=y
CONFIG_IMG_MANAGER=y
CONFIG_STREAM_FLASH=y
CONFIG_IMG_ERASE_PROGRESSIVELY=y
```

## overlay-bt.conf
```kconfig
# Disable Modem traces
CONFIG_NRF_MODEM_LIB_TRACE=n
CONFIG_TFM_SECURE_UART1=n

#UART2 towards nRF52840
CONFIG_UART_INTERRUPT_DRIVEN=y
CONFIG_NRF_SW_LPUART=y
CONFIG_NRF_SW_LPUART_INT_DRIVEN=y
CONFIG_UART_2_ASYNC=y
CONFIG_UART_2_INTERRUPT_DRIVEN=n
CONFIG_UART_2_NRF_HW_ASYNC=y
CONFIG_UART_2_NRF_HW_ASYNC_TIMER=2

CONFIG_BT=y
CONFIG_BT_DEVICE_NAME="mosh"
CONFIG_BT_DEVICE_NAME_DYNAMIC=y

CONFIG_BT_HCI=y

CONFIG_BT_BROADCASTER=y
CONFIG_BT_OBSERVER=y

CONFIG_BT_DEBUG_NONE=y
#CONFIG_LOG=y
CONFIG_BT_LOG_LEVEL_OFF=y
CONFIG_BT_SHELL=y

# Heap and stacks
CONFIG_SYSTEM_WORKQUEUE_STACK_SIZE=4096
CONFIG_MAIN_STACK_SIZE=8192
```

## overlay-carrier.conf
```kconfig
#
# Copyright (c) 2020 Nordic Semiconductor
#
# SPDX-License-Identifier: LicenseRef-Nordic-5-Clause
#

CONFIG_LWM2M_CARRIER=y
CONFIG_LWM2M_CARRIER_SETTINGS=y
CONFIG_LWM2M_CARRIER_SHELL=y

CONFIG_FLASH=y
CONFIG_FLASH_PAGE_LAYOUT=y

CONFIG_MPU_ALLOW_FLASH_WRITE=y

CONFIG_NVS=y
CONFIG_NVS_LOG_LEVEL_OFF=y

CONFIG_DOWNLOADER=y

CONFIG_MODEM_KEY_MGMT=y

CONFIG_REBOOT=y

# Some of the MoSh features need to be switched off to free enough flash
CONFIG_MOSH_REST=n
CONFIG_MOSH_WORKER_THREADS=n

# Also modem shell FOTA support needs to be disabled
CONFIG_MOSH_FOTA=n
CONFIG_BOOTLOADER_MCUBOOT=n
CONFIG_IMG_MANAGER=n
CONFIG_IMG_ERASE_PROGRESSIVELY=n

# DFU target library
CONFIG_DFU_TARGET=y

# IPv4 (IPv6 is enabled by default)
CONFIG_NET_IPV4=y
```

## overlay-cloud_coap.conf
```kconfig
#
# Copyright (c) 2023 Nordic Semiconductor
#
# SPDX-License-Identifier: LicenseRef-Nordic-5-Clause
#

# Modem Shell
CONFIG_MOSH_CLOUD_COAP=y
CONFIG_MOSH_CLOUD_REST=n

# Zephyr CoAP client
CONFIG_COAP_CLIENT=y
CONFIG_COAP_CLIENT_BLOCK_SIZE=1024
CONFIG_COAP_CLIENT_STACK_SIZE=6144
CONFIG_COAP_CLIENT_THREAD_PRIORITY=0
CONFIG_COAP_EXTENDED_OPTIONS_LEN=y
CONFIG_COAP_EXTENDED_OPTIONS_LEN_VALUE=80

# Report standard information to shadow
CONFIG_NRF_CLOUD_SEND_DEVICE_STATUS=y
CONFIG_NRF_CLOUD_SEND_DEVICE_STATUS_NETWORK=y
CONFIG_NRF_CLOUD_SEND_DEVICE_STATUS_SIM=y
CONFIG_NRF_CLOUD_SEND_SERVICE_INFO_UI=y
CONFIG_NRF_CLOUD_SEND_SERVICE_INFO_FOTA=n
CONFIG_NRF_CLOUD_ENABLE_SVC_INF_UI_RSRP=n
```

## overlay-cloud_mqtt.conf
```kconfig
#
# Copyright (c) 2021 Nordic Semiconductor
#
# SPDX-License-Identifier: LicenseRef-Nordic-5-Clause
#

# Modem Shell
CONFIG_MOSH_CLOUD_MQTT=y
CONFIG_MOSH_CLOUD_REST=n

# Report standard information to shadow
CONFIG_NRF_CLOUD_SEND_DEVICE_STATUS=y
CONFIG_NRF_CLOUD_SEND_DEVICE_STATUS_NETWORK=y
CONFIG_NRF_CLOUD_SEND_DEVICE_STATUS_SIM=y
CONFIG_NRF_CLOUD_SEND_SERVICE_INFO_UI=y
CONFIG_NRF_CLOUD_SEND_SERVICE_INFO_FOTA=n
CONFIG_NRF_CLOUD_ENABLE_SVC_INF_UI_RSRP=n
```

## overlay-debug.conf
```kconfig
#
# Copyright (c) 2022 Nordic Semiconductor ASA
#
# SPDX-License-Identifier: LicenseRef-Nordic-5-Clause
#

# Forces a maximal log level for all modules.
# Modules saturates their specified level if it is greater than this option,
# otherwise they use the level specified by this option instead of their default
# or whatever was manually set. Levels are:
#
# 0 OFF, logging is turned off
# 1 ERROR, maximal level set to LOG_LEVEL_ERR
# 2 WARNING, maximal level set to LOG_LEVEL_WRN
# 3 INFO, maximal level set to LOG_LEVEL_INFO
# 4 DEBUG, maximal level set to LOG_LEVEL_DBG
CONFIG_LOG_MAX_LEVEL=4

# Increase log buffer size to prevent logs being dropped.
CONFIG_LOG_BUFFER_SIZE=2048

# Location library
CONFIG_LOCATION_LOG_LEVEL_DBG=y

# SMS library
CONFIG_SMS_LOG_LEVEL_DBG=y

# nRF Cloud
CONFIG_NRF_CLOUD_LOG_LEVEL_DBG=y
CONFIG_NRF_CLOUD_GPS_LOG_LEVEL_DBG=y
CONFIG_NRF_CLOUD_REST_LOG_LEVEL_DBG=y

# REST client library
CONFIG_REST_CLIENT_LOG_LEVEL_DBG=y

# Date time
CONFIG_DATE_TIME_LOG_LEVEL_DBG=y

# Settings
CONFIG_SETTINGS_LOG_LEVEL_DBG=y

# nRF Modem Library
#CONFIG_NRF_MODEM_LOG=y
#CONFIG_NRF_MODEM_LIB_LOG_LEVEL_DBG=y

# AT monitor
#CONFIG_AT_MONITOR_LOG_LEVEL_DBG=y

# LTE link control library
#CONFIG_LTE_LINK_CONTROL_LOG_LEVEL_DBG=y
```

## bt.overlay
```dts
/*
 * Copyright (c) 2022 Nordic Semiconductor ASA
 *
 * SPDX-License-Identifier: LicenseRef-Nordic-5-Clause
 */

#include <nrf9160/nrf9160dk_nrf52840_reset_on_if9.dtsi>

/ {
	chosen {
		zephyr,bt-hci = &bt_hci_uart;
	};
};

&gpiote {
	interrupts = <49 NRF_DEFAULT_IRQ_PRIORITY>;
};

&uart2 {
	current-speed = <1000000>;
	status = "okay";
	/delete-property/ hw-flow-control;

	pinctrl-0 = <&uart2_default_alt>;
	pinctrl-1 = <&uart2_sleep_alt>;
	lpuart: nrf-sw-lpuart {
		compatible = "nordic,nrf-sw-lpuart";
		status = "okay";
		req-pin = <21>; /* <&interface_to_nrf52840 3 0>; */
		rdy-pin = <19>; /* <&interface_to_nrf52840 2 0>; */
		bt_hci_uart: bt_hci_uart {
			compatible = "zephyr,bt-hci-uart";
			status = "okay";
		};
	};
};
&uart1 {
	status = "disabled";
};

&pinctrl {
	uart2_default_alt: uart2_default_alt {
		group1 {
			psels = <NRF_PSEL(UART_TX, 0, 18)>,
				<NRF_PSEL(UART_RX, 0, 17)>;
		};
	};

	uart2_sleep_alt: uart2_sleep_alt {
		group1 {
			psels = <NRF_PSEL(UART_TX, 0, 18)>,
				<NRF_PSEL(UART_RX, 0, 17)>;
			low-power-enable;
		};
	};
};
```

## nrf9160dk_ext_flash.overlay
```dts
/*
 * Copyright (c) 2023 Nordic Semiconductor ASA
 *
 * SPDX-License-Identifier: LicenseRef-Nordic-5-Clause
 */

 /* The mx25r64 definition would normally be included when specifying a nrf9160dk_nrf9160_ns
  * board revision >= 0.14.0, but unfortunately twister has a bug that prevents the revision
  * overlay to get loaded when testing the sample. */
&spi3 {
	cs-gpios = <&arduino_header 16 GPIO_ACTIVE_LOW>, /* D10 */
		   <&gpio0 25 GPIO_ACTIVE_LOW>;
	mx25r64: mx25r6435f@1 {
		compatible = "jedec,spi-nor";
		reg = <1>;
		status = "okay";
		spi-max-frequency = <8000000>;
		jedec-id = [c2 28 17];
		sfdp-bfp = [
			e5 20 f1 ff  ff ff ff 03  44 eb 08 6b  08 3b 04 bb
			ee ff ff ff  ff ff 00 ff  ff ff 00 ff  0c 20 0f 52
			10 d8 00 ff  23 72 f5 00  82 ed 04 cc  44 83 68 44
			30 b0 30 b0  f7 c4 d5 5c  00 be 29 ff  f0 d0 ff ff
		];
		size = <67108864>;
		mxicy,mx25r-power-mode = "high-performance";
	};
};

/ {
	aliases {
		ext-flash = &mx25r64;
	};

	/* Configure partition manager to use mx25r64 as the external flash */
	chosen {
		nordic,pm-ext-flash = &mx25r64;
	};
};
```

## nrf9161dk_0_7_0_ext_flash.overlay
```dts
/*
 * Copyright (c) 2023 Nordic Semiconductor ASA
 *
 * SPDX-License-Identifier: LicenseRef-Nordic-5-Clause
 */

/delete-node/ &gd25wb256;

/ {
	chosen {
		nordic,pm-ext-flash = &gd25lb256;
	};

	aliases {
		ext-flash = &gd25lb256;
	};
};

&gd25lb256 {
	status = "okay";
};
```

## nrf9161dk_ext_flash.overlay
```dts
/*
 * Copyright (c) 2023 Nordic Semiconductor ASA
 *
 * SPDX-License-Identifier: LicenseRef-Nordic-5-Clause
 */

&gd25wb256 {
	status = "okay";
};

/ {
	aliases {
		ext-flash = &gd25wb256;
	};

	/* Configure partition manager to use gd25wb256 as the external flash */
	chosen {
		nordic,pm-ext-flash = &gd25wb256;
	};
};
```

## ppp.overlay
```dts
/*
 * Copyright (c) 2021 Nordic Semiconductor ASA
 *
 * SPDX-License-Identifier: LicenseRef-Nordic-5-Clause
 */
&uart0 {
	compatible = "nordic,nrf-uarte";
	status = "okay";
	hw-flow-control;
};

/* Enable uart1. Note: cannot be used with T-FM.
 * See: https://github.com/zephyrproject-rtos/zephyr/commit/0856e4ba518d32576ed1800a4b70a33617196474
 */
&uart1 {
	status = "okay";
};

/ {
	chosen {
		zephyr,ppp-uart = &uart0;
		zephyr,console = &uart1;
		zephyr,shell-uart = &uart1;
	};
};
```

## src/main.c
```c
/*
 * Copyright (c) 2020 Nordic Semiconductor ASA
 *
 * SPDX-License-Identifier: LicenseRef-Nordic-5-Clause
 */

#include <stdio.h>
#include <string.h>
#include <sys/types.h>

#include <zephyr/kernel.h>
#include <zephyr/init.h>
#include <zephyr/logging/log_ctrl.h>
#include <zephyr/sys/reboot.h>
#include <zephyr/dfu/mcuboot.h>
#include <zephyr/shell/shell.h>
#if defined(CONFIG_SHELL_BACKEND_SERIAL)
#include <zephyr/shell/shell_uart.h>
#else
#include <zephyr/shell/shell_rtt.h>
#endif

#include <nrf_modem.h>
#include <helpers/nrfx_reset_reason.h>
#include <modem/nrf_modem_lib.h>
#include <modem/nrf_modem_lib_trace.h>
#include <modem/modem_info.h>
#include <modem/lte_lc.h>
#include <net/nrf_cloud_os.h>
#include <dk_buttons_and_leds.h>

#include "mosh_defines.h"
#include "mosh_print.h"
#include "link.h"
#include "uart_shell.h"

#if defined(CONFIG_MOSH_PPP)
#include "ppp_ctrl.h"
#endif

#if defined(CONFIG_MOSH_GNSS)
#include "gnss.h"
#endif

#if defined(CONFIG_MOSH_FOTA)
#include "fota.h"
#endif
#if defined(CONFIG_MOSH_WORKER_THREADS)
#include "th_ctrl.h"
#endif

#if defined(CONFIG_MOSH_LOCATION)
#include "location_shell.h"
#endif

#if defined(CONFIG_MOSH_STARTUP_CMDS)
#include "startup_cmd_ctrl.h"
#endif

#if defined(CONFIG_MOSH_AT_CMD_MODE)
#include "at_cmd_mode.h"
#include "at_cmd_mode_sett.h"
#endif

BUILD_ASSERT(IS_ENABLED(CONFIG_SHELL_BACKEND_SERIAL) || IS_ENABLED(CONFIG_SHELL_BACKEND_RTT),
	     "CONFIG_SHELL_BACKEND_SERIAL or CONFIG_SHELL_BACKEND_RTT shell backend must be "
	     "enabled");

/***** Work queue and work item definitions *****/

#define MOSH_COMMON_WORKQ_PRIORITY CONFIG_MOSH_COMMON_WORKQUEUE_PRIORITY
K_THREAD_STACK_DEFINE(mosh_common_workq_stack, CONFIG_MOSH_COMMON_WORKQUEUE_STACK_SIZE);
struct k_work_q mosh_common_work_q;

/* Global variables */
const struct shell *mosh_shell;
struct k_poll_signal mosh_signal;

char mosh_at_resp_buf[MOSH_AT_CMD_RESPONSE_MAX_LEN];
K_MUTEX_DEFINE(mosh_at_resp_buf_mutex);

static const char *modem_crash_reason_get(uint32_t reason)
{
	switch (reason) {
	case NRF_MODEM_FAULT_UNDEFINED:
		return "Undefined fault";

	case NRF_MODEM_FAULT_HW_WD_RESET:
		return "HW WD reset";

	case NRF_MODEM_FAULT_HARDFAULT:
		return "Hard fault";

	case NRF_MODEM_FAULT_MEM_MANAGE:
		return "Memory management fault";

	case NRF_MODEM_FAULT_BUS:
		return "Bus fault";

	case NRF_MODEM_FAULT_USAGE:
		return "Usage fault";

	case NRF_MODEM_FAULT_SECURE_RESET:
		return "Secure control reset";

	case NRF_MODEM_FAULT_PANIC_DOUBLE:
		return "Error handler crash";

	case NRF_MODEM_FAULT_PANIC_RESET_LOOP:
		return "Reset loop";

	case NRF_MODEM_FAULT_ASSERT:
		return "Assert";

	case NRF_MODEM_FAULT_PANIC:
		return "Unconditional SW reset";

	case NRF_MODEM_FAULT_FLASH_ERASE:
		return "Flash erase fault";

	case NRF_MODEM_FAULT_FLASH_WRITE:
		return "Flash write fault";

	case NRF_MODEM_FAULT_POFWARN:
		return "Undervoltage fault";

	case NRF_MODEM_FAULT_THWARN:
		return "Overtemperature fault";

	default:
		return "Unknown reason";
	}
}

void nrf_modem_fault_handler(struct nrf_modem_fault_info *fault_info)
{
	printk("Modem crash reason: 0x%x (%s), PC: 0x%x\n",
		fault_info->reason,
		modem_crash_reason_get(fault_info->reason),
		fault_info->program_counter);

	__ASSERT(false, "Modem crash detected, halting application execution");
}

#if defined(CONFIG_NRF_MODEM_LIB_SHELL_TRACE)
void nrf_modem_lib_trace_callback(enum nrf_modem_lib_trace_event evt)
{
	if (evt == NRF_MODEM_LIB_TRACE_EVT_FULL) {
		mosh_warn("Modem trace storage is full.");
		mosh_print("It is recommended to stop modem tracing before sending.");
		mosh_print("Send or clear modem traces before re-starting.");
	}
}
#endif

static void reset_reason_str_get(char *str, uint32_t reason)
{
	size_t len;

	*str = '\0';

	if (reason & NRFX_RESET_REASON_RESETPIN_MASK) {
		(void)strcat(str, "PIN reset | ");
	}
	if (reason & NRFX_RESET_REASON_DOG_MASK) {
		(void)strcat(str, "watchdog | ");
	}
	if (reason & NRFX_RESET_REASON_OFF_MASK) {
		(void)strcat(str, "wakeup from power-off | ");
	}
	if (reason & NRFX_RESET_REASON_DIF_MASK) {
		(void)strcat(str, "debug interface wakeup | ");
	}
	if (reason & NRFX_RESET_REASON_SREQ_MASK) {
		(void)strcat(str, "software | ");
	}
	if (reason & NRFX_RESET_REASON_LOCKUP_MASK) {
		(void)strcat(str, "CPU lockup | ");
	}
	if (reason & NRFX_RESET_REASON_CTRLAP_MASK) {
		(void)strcat(str, "control access port | ");
	}

	len = strlen(str);
	if (len == 0) {
		(void)strcpy(str, "power-on reset");
	} else {
		str[len - 3] = '\0';
	}
}

static void mosh_print_reset_reason(void)
{
	uint32_t reset_reason;
	char reset_reason_str[128];

	/* Read RESETREAS register value and clear current reset reason(s). */
	reset_reason = nrfx_reset_reason_get();
	nrfx_reset_reason_clear(reset_reason);

	reset_reason_str_get(reset_reason_str, reset_reason);

	printk("\nReset reason: %s\n", reset_reason_str);
}

#if defined(CONFIG_DK_LIBRARY)
static void button_handler(uint32_t button_states, uint32_t has_changed)
{
	if (has_changed & button_states & DK_BTN1_MSK) {
		mosh_print("Button 1 pressed - raising a kill signal");
		k_poll_signal_raise(&mosh_signal, MOSH_SIGNAL_KILL);
#if defined(CONFIG_MOSH_WORKER_THREADS)
		th_ctrl_kill_em_all();
#endif
	} else if (has_changed & ~button_states & DK_BTN1_MSK) {
		mosh_print("Button 1 released - resetting a kill signal");
		k_poll_signal_reset(&mosh_signal);
	}

	if (has_changed & button_states & DK_BTN2_MSK) {
		/* printk() used instead of mosh_print() which returns before the printing is
		 * actually finished and UART gets shut down in the meantime causing a jam.
		 */
		printk("\nButton 2 pressed, toggling UART power state\n");
		uart_toggle_power_state();
	}
}
#endif

int main(void)
{
	int err;
	struct k_work_queue_config cfg = {
		.name = "mosh_common_workq",
	};

#if defined(CONFIG_SHELL_BACKEND_SERIAL)
	mosh_shell = shell_backend_uart_get_ptr();
#else
	mosh_shell = shell_backend_rtt_get_ptr();
#endif

	__ASSERT(mosh_shell != NULL, "Failed to get shell backend");

	/* Reset reason can only be read once, because the register needs to be cleared after
	 * reading. Memfault implementation reads the reset reason before modem_shell, so the
	 * register would always be empty.
	 */
	if (!IS_ENABLED(CONFIG_MEMFAULT)) {
		mosh_print_reset_reason();
	}

#if defined(CONFIG_NRF_CLOUD_REST) || defined(CONFIG_NRF_CLOUD_MQTT) || \
	defined(CONFIG_NRF_CLOUD_COAP)
#if defined(CONFIG_MOSH_IPERF3)
	/* Due to iperf3, we cannot let nrf cloud lib to initialize cJSON lib to be
	 * using kernel heap allocations (i.e. k_ prepending functions).
	 * Thus, we use standard c alloc/free, i.e. "system heap".
	 */
	struct nrf_cloud_os_mem_hooks hooks = {
		.malloc_fn = malloc,
		.calloc_fn = calloc,
		.free_fn = free,
	};
#else
	/* else: we default to Kernel heap */
	struct nrf_cloud_os_mem_hooks hooks = {
		.malloc_fn = k_malloc,
		.calloc_fn = k_calloc,
		.free_fn = k_free,
	};
#endif

	nrf_cloud_os_mem_hooks_init(&hooks);
#endif

	k_work_queue_start(
		&mosh_common_work_q,
		mosh_common_workq_stack,
		K_THREAD_STACK_SIZEOF(mosh_common_workq_stack),
		MOSH_COMMON_WORKQ_PRIORITY,
		&cfg);

	err = nrf_modem_lib_init();
	if (err) {
		/* Modem library initialization failed. */
		printk("Could not initialize nrf_modem_lib, err %d\n", err);
		printk("Fatal error\n");
		return 0;
	}

#if defined(CONFIG_MOSH_PPP)
	ppp_ctrl_init();
#endif
#if defined(CONFIG_MOSH_WORKER_THREADS)
	th_ctrl_init();
#endif
#if defined(CONFIG_MOSH_FOTA)
	err = fota_init();
	if (err) {
		printk("Could not initialize FOTA: %d\n", err);
	}
#endif

#if defined(CONFIG_MOSH_LOCATION)
	/* Location library should be initialized before LTE normal mode */
	location_ctrl_init();
#endif
	link_init();

	err = modem_info_init();
	if (err) {
		printk("Modem info could not be initialized: %d\n", err);
		return 0;
	}

	/* Version information printing uses the Modem information library, so it can not be done
	 * before the library has been initialized.
	 */
	mosh_print_version_info();

#if defined(CONFIG_DK_LIBRARY)
	err = dk_buttons_init(button_handler);
	if (err) {
		printk("Failed to initialize DK buttons library, error: %d\n", err);
	}
	err = dk_leds_init();
	if (err) {
		printk("Cannot initialize LEDs (err: %d)\n", err);
	}
#endif
	/* Application started successfully, mark image as OK to prevent
	 * revert at next reboot. If LwM2M Carrier library is enabled, allow
	 * the library to do it.
	 */
#if (defined(CONFIG_BOOTLOADER_MCUBOOT) && !defined(CONFIG_LWM2M_CARRIER))
	boot_write_img_confirmed();
#endif
	k_poll_signal_init(&mosh_signal);

#if defined(CONFIG_SHELL_BACKEND_SERIAL)
	/* Resize terminal width and height of the shell to have proper command editing. */
	shell_execute_cmd(mosh_shell, "resize");
#endif

#if defined(CONFIG_MOSH_STARTUP_CMDS)
	startup_cmd_ctrl_init();
#endif

#if defined(CONFIG_MOSH_AT_CMD_MODE)
	at_cmd_mode_sett_init();
	if (at_cmd_mode_sett_is_autostart_enabled()) {
		/* Start directly in AT cmd mode */
		at_cmd_mode_start(mosh_shell);
	}
#endif

	return 0;
}
```

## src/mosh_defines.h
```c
/*
 * Copyright (c) 2020 Nordic Semiconductor ASA
 *
 * SPDX-License-Identifier: LicenseRef-Nordic-5-Clause
 */

#ifndef MOSH_DEFINES_H
#define MOSH_DEFINES_H

#define MOSH_EMPTY_STRING "\0"

#define MOSH_APN_STR_MAX_LEN (64)
#define MOSH_ARG_NOT_SET -6

#define MOSH_STRING_NULL_CHECK(string) \
	((string != NULL) ? string : MOSH_EMPTY_STRING)

#define MOSH_AT_CMD_RESPONSE_MAX_LEN 2701

enum mosh_signals {
	MOSH_SIGNAL_KILL,
};

/* For location status indication, use LED1 for Thingy:91 or Thingy:91 X, and LED4 for DKs.
 * Connecting an nRF7002 EK to nRF9151 or nRF9161 DK causes GPIO conflict with LED1 and Button 1.
 */
#if defined(CONFIG_BOARD_THINGY91_NRF9160_NS) || defined(CONFIG_BOARD_THINGY91X_NRF9151_NS)
#define LOCATION_STATUS_LED            DK_LED1
#else
#define LOCATION_STATUS_LED            DK_LED4
#endif

#define GPIO_STATUS_LED                DK_LED2
#define REGISTERED_STATUS_LED          DK_LED3

#endif /* MOSH_DEFINES_H */
```
